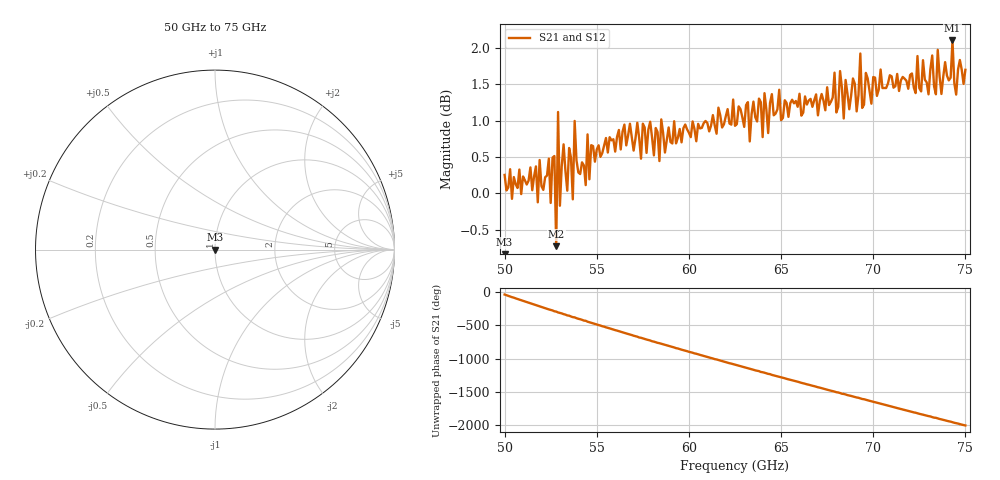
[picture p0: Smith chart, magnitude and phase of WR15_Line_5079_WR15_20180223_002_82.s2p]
# GHZ S RI R 50
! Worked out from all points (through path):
!   251 points, 50 GHz to 75 GHz, reference 50 ohm
!   highest |S21| = 2.10 dB at 74.3 GHz (marker M1); lowest = -0.7 dB at 52.8 GHz (marker M2)
!   lowest |S11| = - dB at 50 GHz (marker M3), VSWR 1.00, Z = 50 + j1.74e-16 ohm
!   |S11| at or under -10 dB: start of sweep to end of sweep
!   |S22| runs from - to - dB; largest |S21 - S12| = 1e-14
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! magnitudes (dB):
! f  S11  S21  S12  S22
! 50 GHz  -  0.3  0.3  -
! 52.4 GHz  -  0.5  0.5  -
! 52.5 GHz  -  -0.1  -0.1  -
! 52.7 GHz  -  0.5  0.5  -
! 52.8 GHz  -  -0.7  -0.7  -
! 52.9 GHz  -  1.1  1.1  -
! 53 GHz  -  -0.2  -0.2  -
! 53.2 GHz  -  0.7  0.7  -
! 53.7 GHz  -  -0.1  -0.1  -
! 53.8 GHz  -  1.0  1.0  -
! 54.2 GHz  -  0.4  0.4  -
! 58.4 GHz  -  0.4  0.4  -
! 58.5 GHz  -  1.0  1.0  -
! 62.5 GHz  -  0.9  0.9  -
! 66.7 GHz  -  1.2  1.2  -
! 70.9 GHz  -  1.6  1.6  -
! 73.4 GHz  -  1.4  1.4  -
! 73.5 GHz  -  2.0  2.0  -
! 73.7 GHz  -  1.4  1.4  -
! 74.3 GHz  -  2.1  2.1  -
! 74.5 GHz  -  1.4  1.4  -
! 75 GHz  -  1.7  1.7  -
